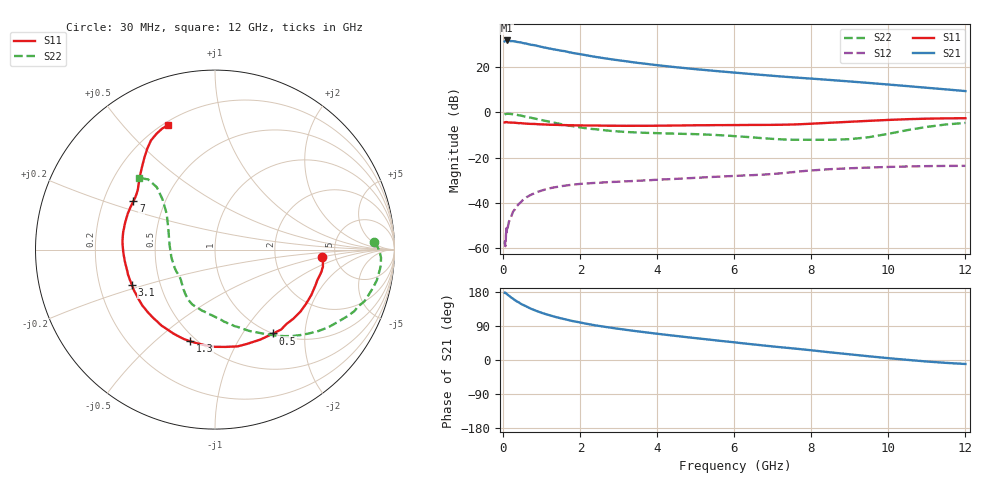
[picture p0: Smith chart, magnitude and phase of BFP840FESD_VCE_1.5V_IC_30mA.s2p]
! Infineon Technologies  Discrete & RF Semiconductors
! BFP840FESD
! VCE =  1.5 V,  IC =  30 mA
! Common Emitter S-Parameters:  May 2012
# GHz  S  MA  R  50
!  f  S11  S21  S12  S22
! GHz  MAG  ANG  MAG  ANG  MAG  ANG  MAG  ANG
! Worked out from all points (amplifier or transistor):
!   103 points, 30 MHz to 12 GHz, reference 50 ohm
!   highest |S21| = 31.8 dB at 80 MHz (marker M1)
!   |S21| within 3 dB of that: start of sweep to 1.034 GHz
!   unconditionally stable (mu >= 1): start of sweep to 60.92 MHz; 4.579 GHz to end of sweep
!   at 400 MHz: K = 0.26, MSG = 35.8 dB, |S12| = -40.5 dB
!   at 3.7 GHz: K = 0.90, MSG = 25.7 dB, |S12| = -30.1 dB
!   at 12 GHz: K = 1.13, MAG = 14.3 dB, |S12| = -23.7 dB
!   S11 on the Smith chart (normalised r, x): 30 MHz: 3.88, -0.50; 500 MHz: 1.00, -1.39; 1.3 GHz: 0.46, -0.65; 3.1 GHz: 0.34, -0.18; 7 GHz: 0.33, +0.25; 12 GHz: 0.22, +0.67
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0.03  0.5959 -4.0  36.87 177.3  0.0012 93.6  0.8866 2.6
0.05  0.6055 -6.3  38.02 177.6  0.0011 83.1  0.9081 0.6
0.08  0.607 -10.1  38.75 174.8  0.0022 78.3  0.9229 -2.0
0.13  0.5948 -16.7  37.6 170.7  0.0033 86.2  0.9265 -6.0
0.2  0.5933 -25.2  37.53 165.0  0.0049 78.5  0.9179 -10.7
0.3  0.5883 -35.9  37.01 158.0  0.0072 75.3  0.8925 -16.4
0.45  0.5781 -50.3  35.26 148.4  0.0103 69.5  0.849 -23.8
0.5  0.5691 -55.2  34.07 145.9  0.0114 68.3  0.8277 -26.5
0.7  0.555 -71.2  31.24 135.9  0.0148 62.3  0.7634 -34.7
0.8  0.5537 -76.9  30.45 131.8  0.0162 59.8  0.7326 -38.3
1  0.5417 -90.0  27.82 124.2  0.0187 55.7  0.6724 -45.1
1.3  0.5293 -105.3  24.7 115.0  0.0218 49.7  0.5943 -53.9
1.8  0.5179 -125.2  20.51 102.7  0.0252 43.3  0.4935 -66.9
2.1  0.5122 -134.4  18.59 96.7  0.0265 40.9  0.4493 -73.6
2.4  0.5108 -142.6  16.74 91.2  0.0276 39.3  0.4226 -79.5
3.1  0.5031 -157.0  13.74 80.8  0.0297 37.6  0.3721 -90.8
4.1  0.5072 -173.3  10.76 68.0  0.0326 37.6  0.3443 -103.6
6.1  0.5229 161.7  7.429 45.4  0.0396 38.8  0.2941 -124.8
7  0.5283 149.4  6.41 35.7  0.0434 40.8  0.2587 -136.4
8.5  0.5888 135.1  5.176 20.1  0.0555 37.4  0.2469 -169.5
10.5  0.7051 120.4  3.791 0.3  0.0636 28.8  0.4052 136.2
12  0.7406 110.9  2.948 -10.5  0.0655 25.3  0.5825 136.6
